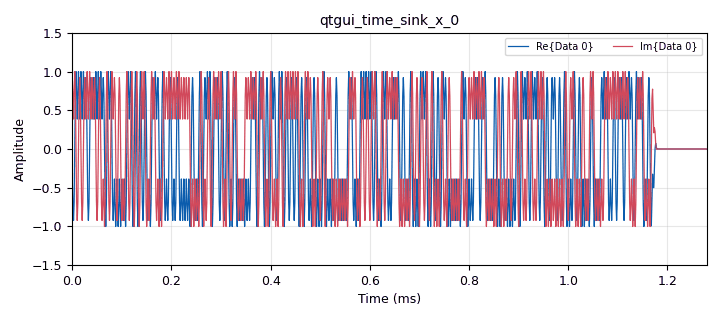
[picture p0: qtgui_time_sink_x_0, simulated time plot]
<?xml version='1.0' encoding='utf-8'?>
<?grc format='1' created='3.7.10'?>
<flow_graph>
<block>
<key>options</key>
<param><key>id</key><value>messages_lab2</value></param>
<param><key>category</key><value>Custom</value></param>
<param><key>generate_options</key><value>qt_gui</value></param>
</block>
<block>
<key>variable_qtgui_entry</key>
<param><key>id</key><value>mean</value></param>
<param><key>value</key><value>1500</value></param>
<param><key>label</key><value>Mean [ms]</value></param>
<param><key>type</key><value>int</value></param>
</block>
<block>
<key>variable</key>
<param><key>id</key><value>samp_rate</value></param>
<param><key>value</key><value>800e3</value></param>
</block>
<block>
<key>blocks_message_debug</key>
<param><key>id</key><value>blocks_message_debug_0</value></param>
<param><key>_enabled</key><value>False</value></param>
</block>
<block>
<key>blocks_message_strobe_random</key>
<param><key>id</key><value>blocks_message_strobe_random_0</value></param>
<param><key>dist</key><value>blocks.STROBE_POISSON</value></param>
<param><key>mean</key><value>mean</value></param>
<param><key>msg</key><value>pmt.intern("TEST")</value></param>
<param><key>std</key><value>200</value></param>
</block>
<block>
<key>blocks_pdu_to_tagged_stream</key>
<param><key>id</key><value>blocks_pdu_to_tagged_stream_0</value></param>
<param><key>type</key><value>byte</value></param>
<param><key>tag</key><value>packet_len</value></param>
</block>
<block>
<key>blocks_random_pdu</key>
<param><key>id</key><value>blocks_random_pdu_0</value></param>
<param><key>mask</key><value>0xFF</value></param>
<param><key>length_modulo</key><value>2</value></param>
<param><key>maxsize</key><value>1024</value></param>
<param><key>minsize</key><value>256</value></param>
</block>
<block>
<key>blocks_tagged_stream_multiply_length</key>
<param><key>id</key><value>blocks_tagged_stream_multiply_length_0</value></param>
<param><key>type</key><value>complex</value></param>
<param><key>c</key><value>16</value></param>
<param><key>lengthtagname</key><value>"packet_len"</value></param>
</block>
<block>
<key>digital_burst_shaper_xx</key>
<param><key>id</key><value>digital_burst_shaper_xx_0</value></param>
<param><key>insert_phasing</key><value>False</value></param>
<param><key>length_tag_name</key><value>"packet_len"</value></param>
<param><key>post_padding</key><value>80</value></param>
<param><key>pre_padding</key><value>20</value></param>
<param><key>type</key><value>complex</value></param>
<param><key>window</key><value>window.hanning(20)</value></param>
</block>
<block>
<key>digital_gmsk_mod</key>
<param><key>id</key><value>digital_gmsk_mod_0</value></param>
<param><key>bt</key><value>0.35</value></param>
<param><key>samples_per_symbol</key><value>2</value></param>
</block>
<block>
<key>import</key>
<param><key>id</key><value>import_0</value></param>
<param><key>import</key><value>from gnuradio.fft import window</value></param>
</block>
<block>
<key>osmosdr_sink</key>
<param><key>id</key><value>osmosdr_sink_0</value></param>
<param><key>bb_gain0</key><value>0</value></param>
<param><key>freq0</key><value>910e6</value></param>
<param><key>if_gain0</key><value>0</value></param>
<param><key>gain0</key><value>0</value></param>
<param><key>args</key><value>bladerf=0</value></param>
<param><key>type</key><value>fc32</value></param>
<param><key>sample_rate</key><value>samp_rate</value></param>
<param><key>sync</key><value></value></param>
</block>
<block>
<key>qtgui_time_sink_x</key>
<param><key>id</key><value>qtgui_time_sink_x_0</value></param>
<param><key>color1</key><value>"blue"</value></param>
<param><key>label1</key><value></value></param>
<param><key>color2</key><value>"red"</value></param>
<param><key>label2</key><value></value></param>
<param><key>size</key><value>1024</value></param>
<param><key>srate</key><value>samp_rate</value></param>
<param><key>type</key><value>complex</value></param>
<param><key>ymax</key><value>1.5</value></param>
<param><key>ymin</key><value>-1.5</value></param>
</block>
<connection><source_block_id>blocks_message_strobe_random_0</source_block_id><sink_block_id>blocks_random_pdu_0</sink_block_id><source_key>strobe</source_key><sink_key>generate</sink_key></connection>
<connection><source_block_id>blocks_pdu_to_tagged_stream_0</source_block_id><sink_block_id>digital_gmsk_mod_0</sink_block_id><source_key>0</source_key><sink_key>0</sink_key></connection>
<connection><source_block_id>blocks_random_pdu_0</source_block_id><sink_block_id>blocks_message_debug_0</sink_block_id><source_key>pdus</source_key><sink_key>print_pdu</sink_key></connection>
<connection><source_block_id>blocks_random_pdu_0</source_block_id><sink_block_id>blocks_pdu_to_tagged_stream_0</sink_block_id><source_key>pdus</source_key><sink_key>pdus</sink_key></connection>
<connection><source_block_id>blocks_tagged_stream_multiply_length_0</source_block_id><sink_block_id>digital_burst_shaper_xx_0</sink_block_id><source_key>0</source_key><sink_key>0</sink_key></connection>
<connection><source_block_id>digital_burst_shaper_xx_0</source_block_id><sink_block_id>osmosdr_sink_0</sink_block_id><source_key>0</source_key><sink_key>0</sink_key></connection>
<connection><source_block_id>digital_burst_shaper_xx_0</source_block_id><sink_block_id>qtgui_time_sink_x_0</sink_block_id><source_key>0</source_key><sink_key>0</sink_key></connection>
<connection><source_block_id>digital_gmsk_mod_0</source_block_id><sink_block_id>blocks_tagged_stream_multiply_length_0</sink_block_id><source_key>0</source_key><sink_key>0</sink_key></connection>
</flow_graph>
